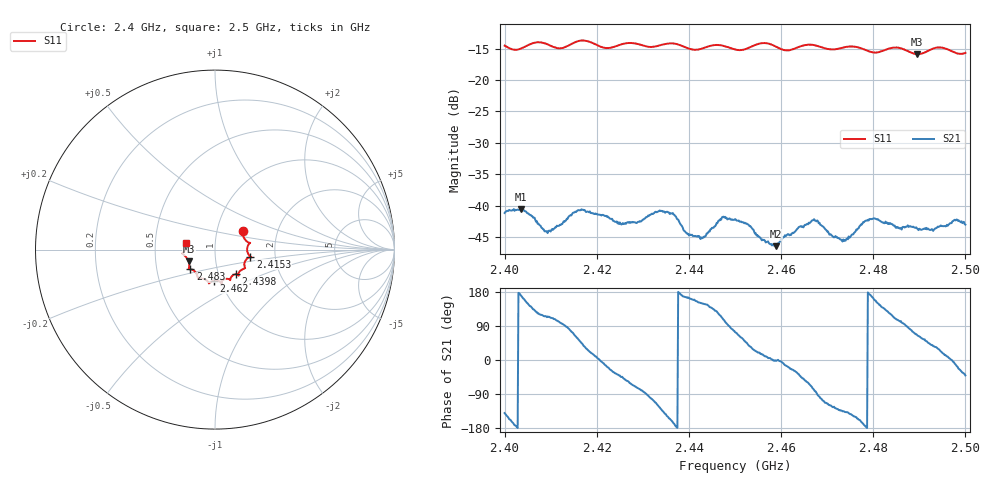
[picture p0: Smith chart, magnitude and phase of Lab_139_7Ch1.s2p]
# Hz S RI R 50
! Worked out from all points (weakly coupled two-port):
!   601 points, 2.4 GHz to 2.5 GHz, reference 50 ohm
!   highest |S21| = -40.53 dB at 2.4035 GHz (marker M1); lowest = -46.5 dB at 2.4588 GHz (marker M2)
!   lowest |S11| = -15.9 dB at 2.4895 GHz (marker M3), VSWR 1.38, Z = 36.9 - j4.98 ohm
!   |S11| at or under -10 dB: start of sweep to end of sweep
!   S12 and S22 are empty: the file has one direction only
!   S11 on the Smith chart (normalised r, x): 2.4 GHz: 1.33, +0.29; 2.4153 GHz: 1.48, -0.12; 2.4398 GHz: 1.21, -0.34; 2.462 GHz: 0.93, -0.33; 2.483 GHz: 0.74, -0.17; 2.5 GHz: 0.72, +0.06
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2.4e9  0.155 0.1061  -0.00669 -0.00561  0 0  0 0
2.4035e9  0.1698 0.0534  -0.00928 0.00154  0 0  0 0
2.409167e9  0.1906 0.033  -0.00244 0.00574  0 0  0 0
2.415333e9  0.1964 -0.0388  0.00399 0.008  0 0  0 0
2.416667e9  0.2018 -0.0429  0.00662 0.00657  0 0  0 0
2.425833e9  0.1667 -0.1001  0.00469 -0.00536  0 0  0 0
2.433333e9  0.131 -0.1341  -0.00459 -0.00768  0 0  0 0
2.436667e9  0.132 -0.144  -0.00828 -0.00192  0 0  0 0
2.439833e9  0.1152 -0.1363  -0.00575 0.00154  0 0  0 0
2.443e9  0.0893 -0.1548  -0.00476 0.00291  0 0  0 0
2.447333e9  0.0835 -0.1681  -0.00268 0.00765  0 0  0 0
2.45e9  0.0649 -0.1628  0.00217 0.00749  0 0  0 0
2.458833e9  0.0322 -0.1819  0.00475 -0.000162  0 0  0 0
2.462e9  -0.00488 -0.1733  0.00539 -0.00234  0 0  0 0
2.466667e9  -0.0341 -0.1878  0.00248 -0.00717  0 0  0 0
2.4735e9  -0.0841 -0.1606  -0.00381 -0.00379  0 0  0 0
2.478667e9  -0.1019 -0.1377  -0.00758 -8.97e-05  0 0  0 0
2.483e9  -0.1377 -0.1095  -0.00463 0.00568  0 0  0 0
2.483333e9  -0.1401 -0.1091  -0.00418 0.00592  0 0  0 0
2.4895e9  -0.1464 -0.0657  0.00266 0.00601  0 0  0 0
2.494167e9  -0.1804 -0.0222  0.00594 0.00324  0 0  0 0
2.5e9  -0.1597 0.0394  0.00535 -0.00459  0 0  0 0
